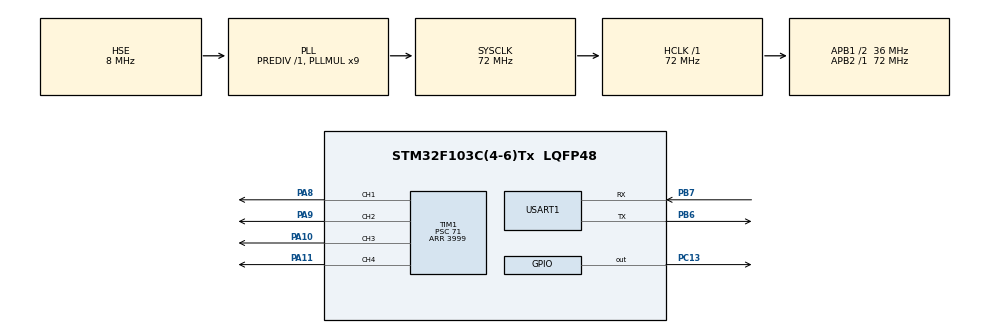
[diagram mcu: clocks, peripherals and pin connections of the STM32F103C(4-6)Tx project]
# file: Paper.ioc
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Mcu.Family=STM32F1
Mcu.Name=STM32F103C(4-6)Tx
Mcu.Package=LQFP48
NVIC.PriorityGroup=NVIC_PRIORITYGROUP_4
NVIC.RCC_IRQn=true\:0\:0\:false\:false\:true\:true\:false\:true
NVIC.USART1_IRQn=true\:0\:0\:false\:false\:true\:true\:true\:true
PA10.Signal=S_TIM1_CH3
PA11.Signal=S_TIM1_CH4
PA13.Mode=Serial_Wire
PA13.Signal=SYS_JTMS-SWDIO
PA14.Mode=Serial_Wire
PA14.Signal=SYS_JTCK-SWCLK
PA8.Signal=S_TIM1_CH1
PA9.Signal=S_TIM1_CH2
PB6.Mode=Asynchronous
PB6.Signal=USART1_TX
PB7.Mode=Asynchronous
PB7.Signal=USART1_RX
PC13-TAMPER-RTC.Signal=GPIO_Output
PD0-OSC_IN.Mode=HSE-External-Oscillator
PD0-OSC_IN.Signal=RCC_OSC_IN
PD1-OSC_OUT.Mode=HSE-External-Oscillator
PD1-OSC_OUT.Signal=RCC_OSC_OUT
ProjectManager.HeapSize=0x400
ProjectManager.StackSize=0x400
ProjectManager.TargetToolchain=MDK-ARM V5.32
RCC.AHBFreq_Value=72000000
RCC.APB1CLKDivider=RCC_HCLK_DIV2
RCC.APB1Freq_Value=36000000
RCC.APB1TimFreq_Value=72000000
RCC.APB2Freq_Value=72000000
RCC.APB2TimFreq_Value=72000000
RCC.HCLKFreq_Value=72000000
RCC.PLLMUL=RCC_PLL_MUL9
RCC.PLLSourceVirtual=RCC_PLLSOURCE_HSE
RCC.SYSCLKFreq_VALUE=72000000
RCC.SYSCLKSource=RCC_SYSCLKSOURCE_PLLCLK
RCC.USBFreq_Value=48000000
RCC.USBPrescaler=RCC_USBCLKSOURCE_PLL_DIV1_5
SH.S_TIM1_CH1.0=TIM1_CH1,PWM Generation1 CH1
SH.S_TIM1_CH2.0=TIM1_CH2,PWM Generation2 CH2
SH.S_TIM1_CH3.0=TIM1_CH3,PWM Generation3 CH3
SH.S_TIM1_CH4.0=TIM1_CH4,PWM Generation4 CH4
TIM1.Channel-PWM\ Generation1\ CH1=TIM_CHANNEL_1
TIM1.Channel-PWM\ Generation2\ CH2=TIM_CHANNEL_2
TIM1.Channel-PWM\ Generation3\ CH3=TIM_CHANNEL_3
TIM1.Channel-PWM\ Generation4\ CH4=TIM_CHANNEL_4
TIM1.Period=3999
TIM1.Prescaler=71
USART1.VirtualMode=VM_ASYNC
board=custom

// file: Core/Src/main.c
/* USER CODE BEGIN Header */
/**
 ******************************************************************************
 * @file           : main.c
 * @brief          : Main program body
 ******************************************************************************
 * @attention
 *
 * Copyright (c) 2024 STMicroelectronics.
 * All rights reserved.
 *
 * This software is licensed under terms that can be found in the LICENSE file
 * in the root directory of this software component.
 * If no LICENSE file comes with this software, it is provided AS-IS.
 *
 ******************************************************************************
 */
/* USER CODE END Header */
#include "main.h"
#include "tim.h"
#include "usart.h"
#include "gpio.h"

/* USER CODE BEGIN Includes */
#include "user.h"
#include "userGeneral.h"
/* USER CODE END Includes */

/* USER CODE BEGIN PV */
extern uint8_t receiveData[];
extern uint8_t dataGet;
extern float posX, posY, posZ;
/* USER CODE END PV */

void SystemClock_Config(void);

int main(void)
{

  /* MCU Configuration--------------------------------------------------------*/

  /* Reset of all peripherals, Initializes the Flash interface and the Systick. */
  HAL_Init();

  /* Configure the system clock */
  SystemClock_Config();

  /* Initialize all configured peripherals */
  MX_GPIO_Init();
  MX_TIM1_Init();
  MX_USART1_UART_Init();

  /* Infinite loop */
  /* USER CODE BEGIN WHILE */
  PWMStart();

  HAL_UARTEx_ReceiveToIdle_IT(&huart1, receiveData, 64);
  uint8_t cmd = 'R';
  while (1)
  {
    if (dataGet)
    {
      if (receiveData[0] == 'S')
      {
        HAL_UART_Transmit(&huart1, &cmd, 1, 50);
        {
          RunPos(0, 0, 30);
          dataGet = 0;
          break;
        }
      }
      dataGet = 0;
    }
  }

  while (1)
  {
    if (dataGet)
    {
      if (receiveData[0] == 'D')
      {
        if (sscanf((char *)receiveData, "D%f,%f,%f;", &posX, &posY, &posZ) == 3)
          RunPos(posX, posY, posZ);
        else
          continue;
      }
      else if (receiveData[0] == 'S')
      {
        RunPos(0, 0, 30);
        HAL_UART_Transmit(&huart1, &cmd, 1, 50);
      }
      dataGet = 0;
    }
    /* USER CODE END WHILE */

  }
}

void SystemClock_Config(void)
{
  RCC_OscInitTypeDef RCC_OscInitStruct = {0};
  RCC_ClkInitTypeDef RCC_ClkInitStruct = {0};

  /** Initializes the RCC Oscillators according to the specified parameters
   * in the RCC_OscInitTypeDef structure.
   */
  RCC_OscInitStruct.OscillatorType = RCC_OSCILLATORTYPE_HSE;
  RCC_OscInitStruct.HSEState = RCC_HSE_ON;
  RCC_OscInitStruct.HSEPredivValue = RCC_HSE_PREDIV_DIV1;
  RCC_OscInitStruct.HSIState = RCC_HSI_ON;
  RCC_OscInitStruct.PLL.PLLState = RCC_PLL_ON;
  RCC_OscInitStruct.PLL.PLLSource = RCC_PLLSOURCE_HSE;
  RCC_OscInitStruct.PLL.PLLMUL = RCC_PLL_MUL9;
  if (HAL_RCC_OscConfig(&RCC_OscInitStruct) != HAL_OK)
  {
    Error_Handler();
  }

  /** Initializes the CPU, AHB and APB buses clocks
   */
  RCC_ClkInitStruct.ClockType = RCC_CLOCKTYPE_HCLK | RCC_CLOCKTYPE_SYSCLK | RCC_CLOCKTYPE_PCLK1 | RCC_CLOCKTYPE_PCLK2;
  RCC_ClkInitStruct.SYSCLKSource = RCC_SYSCLKSOURCE_PLLCLK;
  RCC_ClkInitStruct.AHBCLKDivider = RCC_SYSCLK_DIV1;
  RCC_ClkInitStruct.APB1CLKDivider = RCC_HCLK_DIV2;
  RCC_ClkInitStruct.APB2CLKDivider = RCC_HCLK_DIV1;

  if (HAL_RCC_ClockConfig(&RCC_ClkInitStruct, FLASH_LATENCY_2) != HAL_OK)
  {
    Error_Handler();
  }
}

void Error_Handler(void)
{
  __disable_irq();
  while (1)
  {
  }
}
